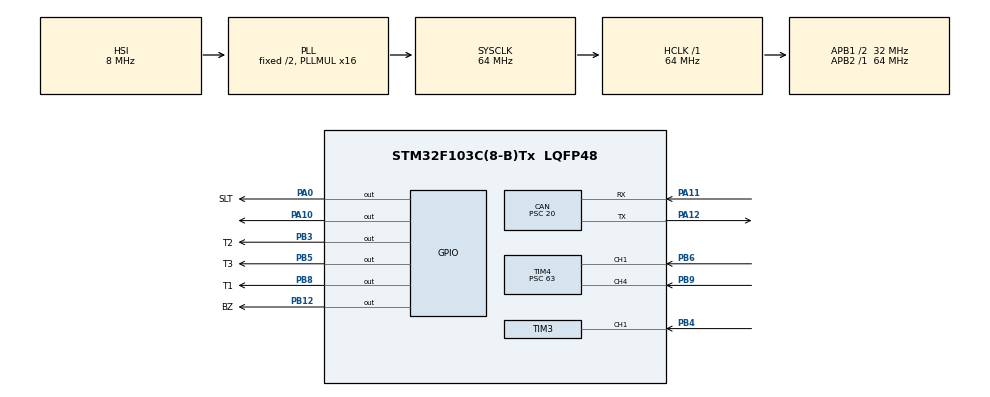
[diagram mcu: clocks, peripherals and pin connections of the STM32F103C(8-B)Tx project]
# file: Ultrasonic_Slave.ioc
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CAN.ABOM=ENABLE
CAN.AWUM=ENABLE
CAN.BS1=CAN_BS1_13TQ
CAN.BS2=CAN_BS2_2TQ
CAN.CalculateBaudRate=100000
CAN.CalculateTimeBit=10000
CAN.CalculateTimeQuantum=625.0
CAN.Prescaler=20
Mcu.Family=STM32F1
Mcu.Name=STM32F103C(8-B)Tx
Mcu.Package=LQFP48
NVIC.PriorityGroup=NVIC_PRIORITYGROUP_4
NVIC.TIM3_IRQn=true\:1\:0\:true\:false\:true\:true\:true\:true
NVIC.TIM4_IRQn=true\:2\:0\:true\:false\:true\:true\:true\:true
PA0-WKUP.GPIO_Label=SLT
PA0-WKUP.Signal=GPIO_Output
PA10.Signal=GPIO_Output
PA11.GPIO_PuPd=GPIO_PULLUP
PA11.Mode=CAN_Activate
PA11.Signal=CAN_RX
PA12.Mode=CAN_Activate
PA12.Signal=CAN_TX
PA13.Mode=Serial_Wire
PA13.Signal=SYS_JTMS-SWDIO
PA14.Mode=Serial_Wire
PA14.Signal=SYS_JTCK-SWCLK
PB12.GPIO_Label=BZ
PB12.Signal=GPIO_Output
PB3.GPIO_Label=T2
PB3.Signal=GPIO_Output
PB4.Signal=S_TIM3_CH1
PB5.GPIO_Label=T3
PB5.Signal=GPIO_Output
PB6.Signal=S_TIM4_CH1
PB8.GPIO_Label=T1
PB8.Signal=GPIO_Output
PB9.Signal=S_TIM4_CH4
ProjectManager.HeapSize=0x200
ProjectManager.StackSize=0x400
ProjectManager.TargetToolchain=STM32CubeIDE
RCC.AHBFreq_Value=64000000
RCC.APB1CLKDivider=RCC_HCLK_DIV2
RCC.APB1Freq_Value=32000000
RCC.APB1TimFreq_Value=64000000
RCC.APB2Freq_Value=64000000
RCC.APB2TimFreq_Value=64000000
RCC.HCLKFreq_Value=64000000
RCC.PLLMUL=RCC_PLL_MUL16
RCC.SYSCLKFreq_VALUE=64000000
RCC.SYSCLKSource=RCC_SYSCLKSOURCE_PLLCLK
RCC.USBFreq_Value=64000000
SH.S_TIM3_CH1.0=TIM3_CH1,Input_Capture1_from_TI1
SH.S_TIM4_CH1.0=TIM4_CH1,Input_Capture1_from_TI1
SH.S_TIM4_CH4.0=TIM4_CH4,Input_Capture4_from_TI4
TIM1.Prescaler=63
TIM3.Channel-Input_Capture1_from_TI1=TIM_CHANNEL_1
TIM3.ICPolarity_CH1=TIM_INPUTCHANNELPOLARITY_RISING
TIM3.Prescaler=63
TIM4.Channel-Input_Capture1_from_TI1=TIM_CHANNEL_1
TIM4.Channel-Input_Capture4_from_TI4=TIM_CHANNEL_4
TIM4.ICPolarity_CH1=TIM_INPUTCHANNELPOLARITY_RISING
TIM4.ICPolarity_CH4=TIM_INPUTCHANNELPOLARITY_RISING
TIM4.Prescaler=63
VP_TIM1_VS_ClockSourceINT.Mode=Internal
VP_TIM3_VS_ClockSourceINT.Mode=Internal
VP_TIM4_VS_ClockSourceINT.Mode=Internal
board=custom

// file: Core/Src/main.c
/* USER CODE BEGIN Header */
/**
  ******************************************************************************
  * @file           : main.c
  * @brief          : Main program body
  ******************************************************************************
  * @attention
  *
  * Copyright (c) 2026 STMicroelectronics.
  * All rights reserved.
  *
  * This software is licensed under terms that can be found in the LICENSE file
  * in the root directory of this software component.
  * If no LICENSE file comes with this software, it is provided AS-IS.
  *
  ******************************************************************************
  */
/* USER CODE END Header */
#include "main.h"

/* USER CODE BEGIN Includes */
#include "stdio.h"
#include "hcsr04.h"
/* USER CODE END Includes */

/* USER CODE BEGIN PTD */
#define FILTER_SIZE 2
typedef struct {
    float buffer[FILTER_SIZE];
    float sum;
    uint8_t index;
    uint8_t count;
} MovingAvg_t;

CAN_TxHeaderTypeDef   TxHeader =
{
	.IDE = CAN_ID_STD,
	.RTR = CAN_RTR_DATA,
	.TransmitGlobalTime = DISABLE
};
uint8_t               TxData[8];
uint32_t              TxMailbox;
/* USER CODE END PTD */

CAN_HandleTypeDef hcan;

TIM_HandleTypeDef htim1;
TIM_HandleTypeDef htim3;
TIM_HandleTypeDef htim4;

/* USER CODE BEGIN PV */
MovingAvg_t filter1 = {0};
MovingAvg_t filter2 = {0};
MovingAvg_t filter3 = {0};
/* USER CODE END PV */

void SystemClock_Config(void);
static void MX_GPIO_Init(void);
static void MX_CAN_Init(void);
static void MX_TIM3_Init(void);
static void MX_TIM4_Init(void);
static void MX_TIM1_Init(void);
/* USER CODE BEGIN PFP */
float MovingAvg_Update(MovingAvg_t *f, float new_sample)
{
    // Trừ giá trị cũ
    f->sum -= f->buffer[f->index];

    // Ghi giá trị mới
    f->buffer[f->index] = new_sample;

    // Cộng vào sum
    f->sum += new_sample;

    // Tăng index vòng
    f->index = (f->index + 1) % FILTER_SIZE;

    // Đếm số mẫu hợp lệ
    if (f->count < FILTER_SIZE)
        f->count++;

    // Trả về trung bình
    return f->sum / f->count;
}
/* USER CODE END PFP */

/* USER CODE BEGIN 0 */
HCSR04_IC_t cb1 =
{
		.htim = &htim4,
		.channel = TIM_CHANNEL_4,
	    .trigPort = T1_GPIO_Port,
	    .trigPin = T1_Pin,
	    .isFirstCaptured = 0,

};

HCSR04_IC_t cb2 =
{
		.htim =  &htim3,
		.channel = TIM_CHANNEL_1,
	    .trigPort = T2_GPIO_Port,
	    .trigPin = T2_Pin,
	    .isFirstCaptured = 0,

};

HCSR04_IC_t cb3 =
{
		.htim = &htim4,
		.channel = TIM_CHANNEL_1,
	    .trigPort = T3_GPIO_Port,
	    .trigPin = T3_Pin,
	    .isFirstCaptured = 0,

};
/* USER CODE END 0 */

int main(void)
{

  /* MCU Configuration--------------------------------------------------------*/

  /* Reset of all peripherals, Initializes the Flash interface and the Systick. */
  HAL_Init();

  /* Configure the system clock */
  SystemClock_Config();

  /* Initialize all configured peripherals */
  MX_GPIO_Init();
  MX_CAN_Init();
  MX_TIM3_Init();
  MX_TIM4_Init();
  MX_TIM1_Init();
  /* USER CODE BEGIN 2 */
  HAL_TIM_Base_Start(&htim1);
  HCSR04_IC_Init(&cb1);
  HCSR04_IC_Init(&cb2);
  HCSR04_IC_Init(&cb3);
  float distance1 = 0.0 , distance2 = 0.0, distance3 = 0.0;
  uint8_t bzState = 0;
  /* USER CODE END 2 */

  /* Infinite loop */
  /* USER CODE BEGIN WHILE */
  HAL_CAN_Start(&hcan);
	  HAL_GPIO_WritePin(SLT_GPIO_Port, SLT_Pin, 0);
  /* Warm up device, skip this dummy value */
  for(uint8_t i = 0; i < 5; i++)
  {
	    HCSR04_IC_Trigger(&cb1);
	    HCSR04_IC_Trigger(&cb2);
	    HCSR04_IC_Trigger(&cb3);

	    HAL_Delay(100);

	    distance1 = MovingAvg_Update(&filter1, cb1.distance);
	    distance2 = MovingAvg_Update(&filter2, cb2.distance);
	    distance3 = MovingAvg_Update(&filter3, cb3.distance);
  }
  /* Warm up end */
  while (1)
  {
    /* USER CODE END WHILE */

    /* USER CODE BEGIN 3 */

	  	  HAL_Delay(20U);
	    HCSR04_IC_Trigger(&cb1);
	    HCSR04_IC_Trigger(&cb2);
	    HCSR04_IC_Trigger(&cb3);

	    distance1 = MovingAvg_Update(&filter1, cb1.distance);
	    distance2 = MovingAvg_Update(&filter2, cb2.distance);
	    distance3 = MovingAvg_Update(&filter3, cb3.distance);

	    if(distance1 < 30 || distance2 < 30 || distance3 < 30)
	    {
	    	HAL_GPIO_WritePin(BZ_GPIO_Port, BZ_Pin, 1);
	    	bzState = 1;
	    }
	    else if((distance1 > 30) && (distance2 > 30) && (distance3 > 30))
	    {
	    	HAL_GPIO_WritePin(BZ_GPIO_Port, BZ_Pin, 0);
	    	bzState = 0;
	    }

	    /* Distance 1 -> left sensor */
		TxHeader.StdId = 0x201;
		TxHeader.DLC = 4;

		memcpy(TxData, &distance1, 4);

		if(HAL_CAN_GetTxMailboxesFreeLevel(&hcan) > 0)
		{
			if (HAL_CAN_AddTxMessage(&hcan, &TxHeader, TxData, &TxMailbox) != HAL_OK)
			{
			   Error_Handler ();
			}
			HAL_Delay(1);
		}

	    /* Distance 2 -> middle sensor */
		TxHeader.StdId = 0x202;
		TxHeader.DLC = 4;

		memcpy(TxData, &distance2, 4);

		if(HAL_CAN_GetTxMailboxesFreeLevel(&hcan) > 0)
		{
			if (HAL_CAN_AddTxMessage(&hcan, &TxHeader, TxData, &TxMailbox) != HAL_OK)
			{
			   Error_Handler ();
			}
			HAL_Delay(1);
		}

	    /* Distance 3 -> right sensor */
		TxHeader.StdId = 0x203;
		TxHeader.DLC = 4;

		memcpy(TxData, &distance3, 4);

		if(HAL_CAN_GetTxMailboxesFreeLevel(&hcan) > 0)
		{
			if (HAL_CAN_AddTxMessage(&hcan, &TxHeader, TxData, &TxMailbox) != HAL_OK)
			{
			   Error_Handler ();
			}
			HAL_Delay(1);
		}

	    /* bz state */
		TxHeader.StdId = 0x204;
		TxHeader.DLC = 1;
		TxData[0] = bzState;

		if(HAL_CAN_GetTxMailboxesFreeLevel(&hcan) > 0)
		{
			if (HAL_CAN_AddTxMessage(&hcan, &TxHeader, TxData, &TxMailbox) != HAL_OK)
			{
			   Error_Handler ();
			}
			HAL_Delay(1);
		}

  }
  /* USER CODE END 3 */
}

void SystemClock_Config(void)
{
  RCC_OscInitTypeDef RCC_OscInitStruct = {0};
  RCC_ClkInitTypeDef RCC_ClkInitStruct = {0};

  /** Initializes the RCC Oscillators according to the specified parameters
  * in the RCC_OscInitTypeDef structure.
  */
  RCC_OscInitStruct.OscillatorType = RCC_OSCILLATORTYPE_HSI;
  RCC_OscInitStruct.HSIState = RCC_HSI_ON;
  RCC_OscInitStruct.HSICalibrationValue = RCC_HSICALIBRATION_DEFAULT;
  RCC_OscInitStruct.PLL.PLLState = RCC_PLL_ON;
  RCC_OscInitStruct.PLL.PLLSource = RCC_PLLSOURCE_HSI_DIV2;
  RCC_OscInitStruct.PLL.PLLMUL = RCC_PLL_MUL16;
  if (HAL_RCC_OscConfig(&RCC_OscInitStruct) != HAL_OK)
  {
    Error_Handler();
  }

  /** Initializes the CPU, AHB and APB buses clocks
  */
  RCC_ClkInitStruct.ClockType = RCC_CLOCKTYPE_HCLK|RCC_CLOCKTYPE_SYSCLK
                              |RCC_CLOCKTYPE_PCLK1|RCC_CLOCKTYPE_PCLK2;
  RCC_ClkInitStruct.SYSCLKSource = RCC_SYSCLKSOURCE_PLLCLK;
  RCC_ClkInitStruct.AHBCLKDivider = RCC_SYSCLK_DIV1;
  RCC_ClkInitStruct.APB1CLKDivider = RCC_HCLK_DIV2;
  RCC_ClkInitStruct.APB2CLKDivider = RCC_HCLK_DIV1;

  if (HAL_RCC_ClockConfig(&RCC_ClkInitStruct, FLASH_LATENCY_2) != HAL_OK)
  {
    Error_Handler();
  }
}

static void MX_CAN_Init(void)
{

  hcan.Instance = CAN1;
  hcan.Init.Prescaler = 20;
  hcan.Init.Mode = CAN_MODE_NORMAL;
  hcan.Init.SyncJumpWidth = CAN_SJW_1TQ;
  hcan.Init.TimeSeg1 = CAN_BS1_13TQ;
  hcan.Init.TimeSeg2 = CAN_BS2_2TQ;
  hcan.Init.TimeTriggeredMode = DISABLE;
  hcan.Init.AutoBusOff = ENABLE;
  hcan.Init.AutoWakeUp = ENABLE;
  hcan.Init.AutoRetransmission = DISABLE;
  hcan.Init.ReceiveFifoLocked = DISABLE;
  hcan.Init.TransmitFifoPriority = DISABLE;
  if (HAL_CAN_Init(&hcan) != HAL_OK)
  {
    Error_Handler();
  }
  /* USER CODE BEGIN CAN_Init 2 */
  CAN_FilterTypeDef canfilterconfig;

  canfilterconfig.FilterActivation = CAN_FILTER_ENABLE;
  canfilterconfig.FilterBank = 13;  // which filter bank to use from the assigned ones
  canfilterconfig.FilterFIFOAssignment = CAN_FILTER_FIFO0;
  canfilterconfig.FilterIdHigh = 0x0000;
  canfilterconfig.FilterIdLow = 0x0000;
  canfilterconfig.FilterMaskIdHigh = 0x0000;
  canfilterconfig.FilterMaskIdLow = 0x0000;
  canfilterconfig.FilterMode = CAN_FILTERMODE_IDMASK;
  canfilterconfig.FilterScale = CAN_FILTERSCALE_32BIT;
  canfilterconfig.SlaveStartFilterBank = 13;  // how many filters to assign to the CAN1 (master can)

  HAL_CAN_ConfigFilter(&hcan, &canfilterconfig);
  /* USER CODE END CAN_Init 2 */

}

static void MX_TIM1_Init(void)
{

  TIM_ClockConfigTypeDef sClockSourceConfig = {0};
  TIM_MasterConfigTypeDef sMasterConfig = {0};

  htim1.Instance = TIM1;
  htim1.Init.Prescaler = 63;
  htim1.Init.CounterMode = TIM_COUNTERMODE_UP;
  htim1.Init.Period = 65535;
  htim1.Init.ClockDivision = TIM_CLOCKDIVISION_DIV1;
  htim1.Init.RepetitionCounter = 0;
  htim1.Init.AutoReloadPreload = TIM_AUTORELOAD_PRELOAD_DISABLE;
  if (HAL_TIM_Base_Init(&htim1) != HAL_OK)
  {
    Error_Handler();
  }
  sClockSourceConfig.ClockSource = TIM_CLOCKSOURCE_INTERNAL;
  if (HAL_TIM_ConfigClockSource(&htim1, &sClockSourceConfig) != HAL_OK)
  {
    Error_Handler();
  }
  sMasterConfig.MasterOutputTrigger = TIM_TRGO_RESET;
  sMasterConfig.MasterSlaveMode = TIM_MASTERSLAVEMODE_DISABLE;
  if (HAL_TIMEx_MasterConfigSynchronization(&htim1, &sMasterConfig) != HAL_OK)
  {
    Error_Handler();
  }

}

static void MX_TIM3_Init(void)
{

  TIM_ClockConfigTypeDef sClockSourceConfig = {0};
  TIM_MasterConfigTypeDef sMasterConfig = {0};
  TIM_IC_InitTypeDef sConfigIC = {0};

  htim3.Instance = TIM3;
  htim3.Init.Prescaler = 63;
  htim3.Init.CounterMode = TIM_COUNTERMODE_UP;
  htim3.Init.Period = 65535;
  htim3.Init.ClockDivision = TIM_CLOCKDIVISION_DIV1;
  htim3.Init.AutoReloadPreload = TIM_AUTORELOAD_PRELOAD_DISABLE;
  if (HAL_TIM_Base_Init(&htim3) != HAL_OK)
  {
    Error_Handler();
  }
  sClockSourceConfig.ClockSource = TIM_CLOCKSOURCE_INTERNAL;
  if (HAL_TIM_ConfigClockSource(&htim3, &sClockSourceConfig) != HAL_OK)
  {
    Error_Handler();
  }
  if (HAL_TIM_IC_Init(&htim3) != HAL_OK)
  {
    Error_Handler();
  }
  sMasterConfig.MasterOutputTrigger = TIM_TRGO_RESET;
  sMasterConfig.MasterSlaveMode = TIM_MASTERSLAVEMODE_DISABLE;
  if (HAL_TIMEx_MasterConfigSynchronization(&htim3, &sMasterConfig) != HAL_OK)
  {
    Error_Handler();
  }
  sConfigIC.ICPolarity = TIM_INPUTCHANNELPOLARITY_RISING;
  sConfigIC.ICSelection = TIM_ICSELECTION_DIRECTTI;
  sConfigIC.ICPrescaler = TIM_ICPSC_DIV1;
  sConfigIC.ICFilter = 0;
  if (HAL_TIM_IC_ConfigChannel(&htim3, &sConfigIC, TIM_CHANNEL_1) != HAL_OK)
  {
    Error_Handler();
  }

}

static void MX_TIM4_Init(void)
{

  TIM_ClockConfigTypeDef sClockSourceConfig = {0};
  TIM_MasterConfigTypeDef sMasterConfig = {0};
  TIM_IC_InitTypeDef sConfigIC = {0};

  htim4.Instance = TIM4;
  htim4.Init.Prescaler = 63;
  htim4.Init.CounterMode = TIM_COUNTERMODE_UP;
  htim4.Init.Period = 65535;
  htim4.Init.ClockDivision = TIM_CLOCKDIVISION_DIV1;
  htim4.Init.AutoReloadPreload = TIM_AUTORELOAD_PRELOAD_DISABLE;
  if (HAL_TIM_Base_Init(&htim4) != HAL_OK)
  {
    Error_Handler();
  }
  sClockSourceConfig.ClockSource = TIM_CLOCKSOURCE_INTERNAL;
  if (HAL_TIM_ConfigClockSource(&htim4, &sClockSourceConfig) != HAL_OK)
  {
    Error_Handler();
  }
  if (HAL_TIM_IC_Init(&htim4) != HAL_OK)
  {
    Error_Handler();
  }
  sMasterConfig.MasterOutputTrigger = TIM_TRGO_RESET;
  sMasterConfig.MasterSlaveMode = TIM_MASTERSLAVEMODE_DISABLE;
  if (HAL_TIMEx_MasterConfigSynchronization(&htim4, &sMasterConfig) != HAL_OK)
  {
    Error_Handler();
  }
  sConfigIC.ICPolarity = TIM_INPUTCHANNELPOLARITY_RISING;
  sConfigIC.ICSelection = TIM_ICSELECTION_DIRECTTI;
  sConfigIC.ICPrescaler = TIM_ICPSC_DIV1;
  sConfigIC.ICFilter = 0;
  if (HAL_TIM_IC_ConfigChannel(&htim4, &sConfigIC, TIM_CHANNEL_1) != HAL_OK)
  {
    Error_Handler();
  }
  if (HAL_TIM_IC_ConfigChannel(&htim4, &sConfigIC, TIM_CHANNEL_4) != HAL_OK)
  {
    Error_Handler();
  }

}

static void MX_GPIO_Init(void)
{
  GPIO_InitTypeDef GPIO_InitStruct = {0};

  /* GPIO Ports Clock Enable */
  __HAL_RCC_GPIOA_CLK_ENABLE();
  __HAL_RCC_GPIOB_CLK_ENABLE();

  /*Configure GPIO pin Output Level */
  HAL_GPIO_WritePin(GPIOA, SLT_Pin|GPIO_PIN_10, GPIO_PIN_RESET);

  /*Configure GPIO pin Output Level */
  HAL_GPIO_WritePin(GPIOB, BZ_Pin|T2_Pin|T3_Pin|T1_Pin, GPIO_PIN_RESET);

  /*Configure GPIO pins : SLT_Pin PA10 */
  GPIO_InitStruct.Pin = SLT_Pin|GPIO_PIN_10;
  GPIO_InitStruct.Mode = GPIO_MODE_OUTPUT_PP;
  GPIO_InitStruct.Pull = GPIO_NOPULL;
  GPIO_InitStruct.Speed = GPIO_SPEED_FREQ_LOW;
  HAL_GPIO_Init(GPIOA, &GPIO_InitStruct);

  /*Configure GPIO pins : BZ_Pin T2_Pin T3_Pin T1_Pin */
  GPIO_InitStruct.Pin = BZ_Pin|T2_Pin|T3_Pin|T1_Pin;
  GPIO_InitStruct.Mode = GPIO_MODE_OUTPUT_PP;
  GPIO_InitStruct.Pull = GPIO_NOPULL;
  GPIO_InitStruct.Speed = GPIO_SPEED_FREQ_LOW;
  HAL_GPIO_Init(GPIOB, &GPIO_InitStruct);

}

/* USER CODE BEGIN 4 */
void HAL_TIM_IC_CaptureCallback(TIM_HandleTypeDef *htim)
{
    if (htim->Instance == TIM4 && htim->Channel == HAL_TIM_ACTIVE_CHANNEL_4)
    {
        HCSR04_IC_Callback(&cb1);
    }
    else if(htim->Instance == TIM3 && htim->Channel == HAL_TIM_ACTIVE_CHANNEL_1)
    {
    	HCSR04_IC_Callback(&cb2);
    }
    else if(htim->Instance == TIM4 && htim->Channel == HAL_TIM_ACTIVE_CHANNEL_1)
    {
    	HCSR04_IC_Callback(&cb3);
    }
    else
    {
    	Error_Handler();
    }

}
/* USER CODE END 4 */

void Error_Handler(void)
{
  __disable_irq();
  while (1)
  {
  }
}
